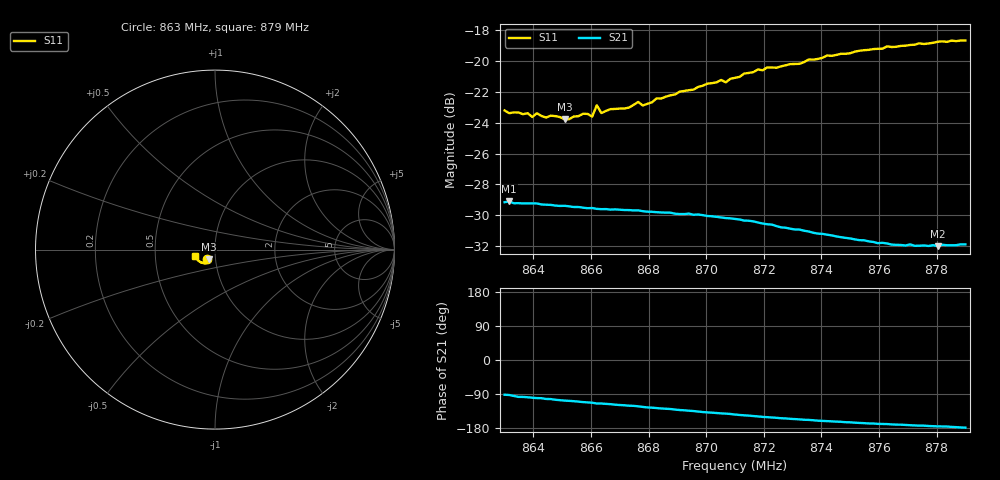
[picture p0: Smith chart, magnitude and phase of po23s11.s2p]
# HZ S RI R 50
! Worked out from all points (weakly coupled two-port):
!   101 points, 863 MHz to 879 MHz, reference 50 ohm
!   highest |S21| = -29.11 dB at 863.16 MHz (marker M1); lowest = -32.0 dB at 878.04 MHz (marker M2)
!   lowest |S11| = -23.8 dB at 865.08 MHz (marker M3), VSWR 1.14, Z = 46.3 - j5.07 ohm
!   |S11| at or under -10 dB: start of sweep to end of sweep
!   S12 and S22 are empty: the file has one direction only
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8.63e8  -0.0435 -0.0538  -0.001 -0.0348  0 0  0 0
8.6316e8  -0.0414 -0.0537  -0.00142 -0.035  0 0  0 0
8.638e8  -0.0416 -0.0536  -0.00498 -0.0342  0 0  0 0
8.6396e8  -0.0393 -0.0529  -0.00574 -0.0341  0 0  0 0
8.6412e8  -0.0405 -0.0543  -0.00631 -0.0339  0 0  0 0
8.6444e8  -0.0389 -0.0528  -0.0076 -0.0333  0 0  0 0
8.646e8  -0.0371 -0.0553  -0.0077 -0.0333  0 0  0 0
8.6508e8  -0.0351 -0.0544  -0.01 -0.0324  0 0  0 0
8.6572e8  -0.0342 -0.0582  -0.012 -0.0312  0 0  0 0
8.6604e8  -0.0333 -0.0571  -0.0129 -0.0308  0 0  0 0
8.662e8  -0.0403 -0.0596  -0.0139 -0.0301  0 0  0 0
8.6636e8  -0.0345 -0.0584  -0.0139 -0.03  0 0  0 0
8.6732e8  -0.0334 -0.0623  -0.0167 -0.0283  0 0  0 0
8.6764e8  -0.0363 -0.0642  -0.0175 -0.0277  0 0  0 0
8.678e8  -0.0347 -0.0629  -0.0181 -0.0271  0 0  0 0
8.6844e8  -0.036 -0.0665  -0.0198 -0.0255  0 0  0 0
8.71e8  -0.0482 -0.074  -0.0248 -0.0181  0 0  0 0
8.718e8  -0.0549 -0.0763  -0.0256 -0.0155  0 0  0 0
8.7372e8  -0.0683 -0.0746  -0.0259 -0.00992  0 0  0 0
8.7644e8  -0.0927 -0.0613  -0.025 -0.00443  0 0  0 0
8.7804e8  -0.105 -0.0485  -0.025 -0.00209  0 0  0 0
8.79e8  -0.1104 -0.0381  -0.0254 -0.000666  0 0  0 0
